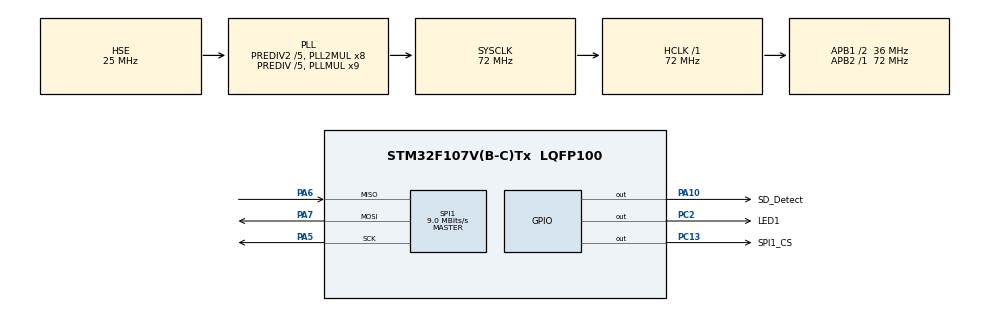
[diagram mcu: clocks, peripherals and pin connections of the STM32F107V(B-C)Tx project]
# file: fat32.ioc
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Mcu.Family=STM32F1
Mcu.Name=STM32F107V(B-C)Tx
Mcu.Package=LQFP100
NVIC.PriorityGroup=NVIC_PRIORITYGROUP_4
OSC_IN.Mode=HSE-External-Oscillator
OSC_IN.Signal=RCC_OSC_IN
OSC_OUT.Mode=HSE-External-Oscillator
OSC_OUT.Signal=RCC_OSC_OUT
PA10.GPIO_Label=SD_Detect
PA10.Signal=GPIO_Output
PA13.Mode=Serial_Wire
PA13.Signal=SYS_JTMS-SWDIO
PA14.Mode=Serial_Wire
PA14.Signal=SYS_JTCK-SWCLK
PA5.Mode=Full_Duplex_Master
PA5.Signal=SPI1_SCK
PA6.Mode=Full_Duplex_Master
PA6.Signal=SPI1_MISO
PA7.Mode=Full_Duplex_Master
PA7.Signal=SPI1_MOSI
PC13-TAMPER-RTC.GPIO_Label=SPI1_CS
PC13-TAMPER-RTC.Signal=GPIO_Output
PC2.GPIO_Label=LED1
PC2.Signal=GPIO_Output
ProjectManager.HeapSize=0x2000
ProjectManager.StackSize=0x4000
ProjectManager.TargetToolchain=MDK-ARM V5
RCC.AHBFreq_Value=72000000
RCC.APB1CLKDivider=RCC_HCLK_DIV2
RCC.APB1Freq_Value=36000000
RCC.APB1TimFreq_Value=72000000
RCC.APB2Freq_Value=72000000
RCC.APB2TimFreq_Value=72000000
RCC.HCLKFreq_Value=72000000
RCC.HSEDivPLL=RCC_HSE_PREDIV_DIV5
RCC.HSE_VALUE=25000000
RCC.PLLMUL=RCC_PLL_MUL9
RCC.PLLSourceVirtual=RCC_PLLSOURCE_HSE
RCC.Prediv1Source=RCC_PREDIV1_SOURCE_PLL2
RCC.Prediv2=RCC_HSE_PREDIV2_DIV5
RCC.SYSCLKFreq_VALUE=72000000
RCC.SYSCLKSource=RCC_SYSCLKSOURCE_PLLCLK
RCC.USBFreq_Value=48000000
SPI1.BaudRatePrescaler=SPI_BAUDRATEPRESCALER_8
SPI1.CalculateBaudRate=9.0 MBits/s
SPI1.Direction=SPI_DIRECTION_2LINES
SPI1.Mode=SPI_MODE_MASTER
SPI1.VirtualType=VM_MASTER
VP_FATFS_VS_Generic.Mode=User_defined
board=fat32

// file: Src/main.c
/**
  ******************************************************************************
  * @file           : main.c
  * @brief          : Main program body
  ******************************************************************************
  * This notice applies to any and all portions of this file
  * that are not between comment pairs USER CODE BEGIN and
  * USER CODE END. Other portions of this file, whether
  * inserted by the user or by software development tools
  * are owned by their respective copyright owners.
  *
  * Copyright (c) 2018 STMicroelectronics International N.V.
  * All rights reserved.
  *
  * Redistribution and use in source and binary forms, with or without
  * modification, are permitted, provided that the following conditions are met:
  *
  * 1. Redistribution of source code must retain the above copyright notice,
  *    this list of conditions and the following disclaimer.
  * 2. Redistributions in binary form must reproduce the above copyright notice,
  *    this list of conditions and the following disclaimer in the documentation
  *    and/or other materials provided with the distribution.
  * 3. Neither the name of STMicroelectronics nor the names of other
  *    contributors to this software may be used to endorse or promote products
  *    derived from this software without specific written permission.
  * 4. This software, including modifications and/or derivative works of this
  *    software, must execute solely and exclusively on microcontroller or
  *    microprocessor devices manufactured by or for STMicroelectronics.
  * 5. Redistribution and use of this software other than as permitted under
  *    this license is void and will automatically terminate your rights under
  *    this license.
  *
  * THIS SOFTWARE IS PROVIDED BY STMICROELECTRONICS AND CONTRIBUTORS "AS IS"
  * AND ANY EXPRESS, IMPLIED OR STATUTORY WARRANTIES, INCLUDING, BUT NOT
  * LIMITED TO, THE IMPLIED WARRANTIES OF MERCHANTABILITY, FITNESS FOR A
  * PARTICULAR PURPOSE AND NON-INFRINGEMENT OF THIRD PARTY INTELLECTUAL PROPERTY
  * RIGHTS ARE DISCLAIMED TO THE FULLEST EXTENT PERMITTED BY LAW. IN NO EVENT
  * SHALL STMICROELECTRONICS OR CONTRIBUTORS BE LIABLE FOR ANY DIRECT, INDIRECT,
  * INCIDENTAL, SPECIAL, EXEMPLARY, OR CONSEQUENTIAL DAMAGES (INCLUDING, BUT NOT
  * LIMITED TO, PROCUREMENT OF SUBSTITUTE GOODS OR SERVICES; LOSS OF USE, DATA,
  * OR PROFITS; OR BUSINESS INTERRUPTION) HOWEVER CAUSED AND ON ANY THEORY OF
  * LIABILITY, WHETHER IN CONTRACT, STRICT LIABILITY, OR TORT (INCLUDING
  * NEGLIGENCE OR OTHERWISE) ARISING IN ANY WAY OUT OF THE USE OF THIS SOFTWARE,
  * EVEN IF ADVISED OF THE POSSIBILITY OF SUCH DAMAGE.
  *
  ******************************************************************************
  */
#include "main.h"
#include "stm32f1xx_hal.h"
#include "fatfs.h"

SPI_HandleTypeDef hspi1;

/* USER CODE BEGIN PV */
/* Private variables ---------------------------------------------------------*/
FATFS SDFatFs;  /* File system object for SD card logical drive */
FIL MyFile;     /* File object */
char SDPath[4]; /* SD card logical drive path */

/* USER CODE END PV */

void SystemClock_Config(void);
static void MX_GPIO_Init(void);
static void MX_SPI1_Init(void);

/* USER CODE BEGIN PFP */
/* Private function prototypes -----------------------------------------------*/

/* USER CODE END PFP */

int main(void)
{
  /* USER CODE BEGIN 1 */
  FRESULT res;                                          /* FatFs function common result code */
  uint32_t byteswritten, bytesread;                     /* File write/read counts */
  uint8_t wtext[] = "This is STM32 working with FatFs"; /* File write buffer */
  uint8_t rtext[100];
  /* USER CODE END 1 */

  /* MCU Configuration----------------------------------------------------------*/

  /* Reset of all peripherals, Initializes the Flash interface and the Systick. */
  HAL_Init();

  /* Configure the system clock */
  SystemClock_Config();

  /* Initialize all configured peripherals */
  MX_GPIO_Init();
  MX_SPI1_Init();
  MX_FATFS_Init();
  /* USER CODE BEGIN 2 */

  /*##-1- Link the micro SD disk I/O driver ##################################*/
  if(FATFS_LinkDriver(&USER_Driver, SDPath) == 0)
  {
    /*##-2- Register the file system object to the FatFs module ##############*/
    if(f_mount(&SDFatFs, (TCHAR const*)SDPath, 0) != FR_OK)
    {
      /* FatFs Initialization Error */
      Error_Handler();
    }
    else
    {
      /*##-3- Create a FAT file system (format) on the logical drive #########*/
      /* WARNING: Formatting the uSD card will delete all content on the device */
      if(f_mkfs((TCHAR const*)SDPath, 0, 0) != FR_OK)
      {
        /* FatFs Format Error */
        Error_Handler();
      }
      else
      {
        /*##-4- Create and Open a new text file object with write access #####*/
        if(f_open(&MyFile, "STM32.TXT", FA_CREATE_ALWAYS | FA_WRITE) != FR_OK)
        {
          /* 'STM32.TXT' file Open for write Error */
          Error_Handler();
        }
        else
        {
          /*##-5- Write data to the text file ################################*/
          res = f_write(&MyFile, wtext, sizeof(wtext), (void *)&byteswritten);

          /*##-6- Close the open text file #################################*/
          if (f_close(&MyFile) != FR_OK )
          {
            Error_Handler();
          }

          if((byteswritten == 0) || (res != FR_OK))
          {
            /* 'STM32.TXT' file Write or EOF Error */
            Error_Handler();
          }
          else
          {
            /*##-7- Open the text file object with read access ###############*/
            if(f_open(&MyFile, "STM32.TXT", FA_READ) != FR_OK)
            {
              /* 'STM32.TXT' file Open for read Error */
              Error_Handler();
            }
            else
            {
              /*##-8- Read data from the text file ###########################*/
              res = f_read(&MyFile, rtext, sizeof(rtext), (UINT*)&bytesread);

              if((bytesread == 0) || (res != FR_OK))
              {
                /* 'STM32.TXT' file Read or EOF Error */
                Error_Handler();
              }
              else
              {
                /*##-9- Close the open text file #############################*/
                f_close(&MyFile);

                /*##-10- Compare read data with the expected data ############*/
                if((bytesread != byteswritten))
                {
                  /* Read data is different from the expected data */
                  Error_Handler();
                }
                else
                {
                  /* Success of the demo: no error occurrence */
                  //BSP_LED_On(LED_GREEN);
                }
              }
            }
          }
        }
      }
    }
  }

  /*##-11- Unlink the RAM disk I/O driver ####################################*/
  FATFS_UnLinkDriver(SDPath);

  /* USER CODE END 2 */

  /* Infinite loop */
  while (1)
  {

  }

}

void SystemClock_Config(void)
{

  RCC_OscInitTypeDef RCC_OscInitStruct;
  RCC_ClkInitTypeDef RCC_ClkInitStruct;

    /**Initializes the CPU, AHB and APB busses clocks
    */
  RCC_OscInitStruct.OscillatorType = RCC_OSCILLATORTYPE_HSE;
  RCC_OscInitStruct.HSEState = RCC_HSE_ON;
  RCC_OscInitStruct.HSEPredivValue = RCC_HSE_PREDIV_DIV5;
  RCC_OscInitStruct.HSIState = RCC_HSI_ON;
  RCC_OscInitStruct.Prediv1Source = RCC_PREDIV1_SOURCE_PLL2;
  RCC_OscInitStruct.PLL.PLLState = RCC_PLL_ON;
  RCC_OscInitStruct.PLL.PLLSource = RCC_PLLSOURCE_HSE;
  RCC_OscInitStruct.PLL.PLLMUL = RCC_PLL_MUL9;
  RCC_OscInitStruct.PLL2.PLL2State = RCC_PLL2_ON;
  RCC_OscInitStruct.PLL2.PLL2MUL = RCC_PLL2_MUL8;
  RCC_OscInitStruct.PLL2.HSEPrediv2Value = RCC_HSE_PREDIV2_DIV5;
  if (HAL_RCC_OscConfig(&RCC_OscInitStruct) != HAL_OK)
  {
    _Error_Handler(__FILE__, __LINE__);
  }

    /**Initializes the CPU, AHB and APB busses clocks
    */
  RCC_ClkInitStruct.ClockType = RCC_CLOCKTYPE_HCLK|RCC_CLOCKTYPE_SYSCLK
                              |RCC_CLOCKTYPE_PCLK1|RCC_CLOCKTYPE_PCLK2;
  RCC_ClkInitStruct.SYSCLKSource = RCC_SYSCLKSOURCE_PLLCLK;
  RCC_ClkInitStruct.AHBCLKDivider = RCC_SYSCLK_DIV1;
  RCC_ClkInitStruct.APB1CLKDivider = RCC_HCLK_DIV2;
  RCC_ClkInitStruct.APB2CLKDivider = RCC_HCLK_DIV1;

  if (HAL_RCC_ClockConfig(&RCC_ClkInitStruct, FLASH_LATENCY_2) != HAL_OK)
  {
    _Error_Handler(__FILE__, __LINE__);
  }

    /**Configure the Systick interrupt time
    */
  HAL_SYSTICK_Config(HAL_RCC_GetHCLKFreq()/1000);

    /**Configure the Systick
    */
  HAL_SYSTICK_CLKSourceConfig(SYSTICK_CLKSOURCE_HCLK);

    /**Configure the Systick interrupt time
    */
  __HAL_RCC_PLLI2S_ENABLE();

  /* SysTick_IRQn interrupt configuration */
  HAL_NVIC_SetPriority(SysTick_IRQn, 0, 0);
}

/* SPI1 init function */
static void MX_SPI1_Init(void)
{

  /* SPI1 parameter configuration*/
  hspi1.Instance = SPI1;
  hspi1.Init.Mode = SPI_MODE_MASTER;
  hspi1.Init.Direction = SPI_DIRECTION_2LINES;
  hspi1.Init.DataSize = SPI_DATASIZE_8BIT;
  hspi1.Init.CLKPolarity = SPI_POLARITY_LOW;
  hspi1.Init.CLKPhase = SPI_PHASE_1EDGE;
  hspi1.Init.NSS = SPI_NSS_SOFT;
  hspi1.Init.BaudRatePrescaler = SPI_BAUDRATEPRESCALER_8;
  hspi1.Init.FirstBit = SPI_FIRSTBIT_MSB;
  hspi1.Init.TIMode = SPI_TIMODE_DISABLE;
  hspi1.Init.CRCCalculation = SPI_CRCCALCULATION_DISABLE;
  hspi1.Init.CRCPolynomial = 10;
  if (HAL_SPI_Init(&hspi1) != HAL_OK)
  {
    _Error_Handler(__FILE__, __LINE__);
  }

}

/** Configure pins as
        * Analog
        * Input
        * Output
        * EVENT_OUT
        * EXTI
*/
static void MX_GPIO_Init(void)
{

  GPIO_InitTypeDef GPIO_InitStruct;

  /* GPIO Ports Clock Enable */
  __HAL_RCC_GPIOC_CLK_ENABLE();
  __HAL_RCC_GPIOA_CLK_ENABLE();

  /*Configure GPIO pin Output Level */
  HAL_GPIO_WritePin(GPIOC, SPI1_CS_Pin|LED1_Pin, GPIO_PIN_RESET);

  /*Configure GPIO pin Output Level */
  HAL_GPIO_WritePin(SD_Detect_GPIO_Port, SD_Detect_Pin, GPIO_PIN_RESET);

  /*Configure GPIO pins : SPI1_CS_Pin LED1_Pin */
  GPIO_InitStruct.Pin = SPI1_CS_Pin|LED1_Pin;
  GPIO_InitStruct.Mode = GPIO_MODE_OUTPUT_PP;
  GPIO_InitStruct.Speed = GPIO_SPEED_FREQ_LOW;
  HAL_GPIO_Init(GPIOC, &GPIO_InitStruct);

  /*Configure GPIO pin : SD_Detect_Pin */
  GPIO_InitStruct.Pin = SD_Detect_Pin;
  GPIO_InitStruct.Mode = GPIO_MODE_OUTPUT_PP;
  GPIO_InitStruct.Speed = GPIO_SPEED_FREQ_LOW;
  HAL_GPIO_Init(SD_Detect_GPIO_Port, &GPIO_InitStruct);

}

void _Error_Handler(char *file, int line)
{
  while(1)
  {
  }
}

/************************ (C) COPYRIGHT STMicroelectronics *****END OF FILE****/
